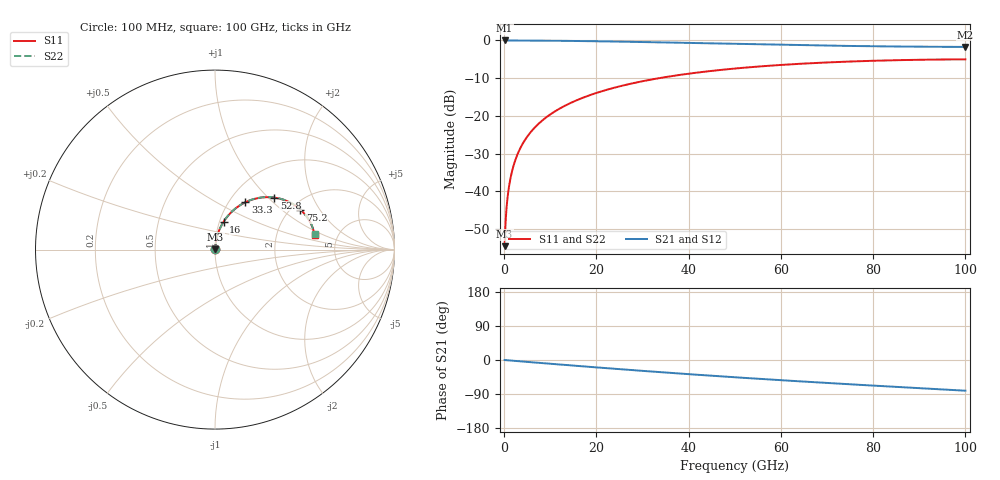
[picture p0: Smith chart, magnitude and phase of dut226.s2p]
! Touchstone file exported from HFSS 2026.1.0
!  File:  C:/ffzhzh/LocalFiles/Ansys_Project_Files/temp_train_RDL_226_1783501096_44152.aedt
!  Generated:  04:59:20 PM Jul  8, 2026
!  Design:  RDL
!  Project:  temp_train_RDL_226_1783501096_44152
! Variables:
!  h_bsmrdl = 2um
!  h_ox = 20um
!  h_rdl = 5um
!  h_sub = 80um
!  h_tmrdl = 2.62um
!  h_tsv = 80um
!  h_via = 3um
!  l_bsmrdl = 300um
!  l_sub = 631.81um
!  l_tmrdl = 231.81um
!  m_sub = 200um
!  pitch = 57.89um
!  r_tsv = 6um
!  s_tmrdl = 10um
!  w_bsmrdl = 18um
!  w_sub = 500um
!  w_tmrdl = 27.51um
!  x_tsv_center1 = 245.565um
!  x_tsv_center2 = 563.565um
!  x_tsv_center3 = 822.885um
!  x_tsv_center4 = 1140.885um
!  x_tsv_center5 = 1400.205um
!  x_tsv_center6 = 1718.205um
# GHz S MA R 50.000000
! Terminal data exported
! Port[1] = TM_RDL1_1_T1
! Port[2] = TM_RDL1_1_T2
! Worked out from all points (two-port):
!   1000 points, 100 MHz to 100 GHz, reference 50 ohm
!   highest |S21| = -0.01 dB at 100 MHz (marker M1); lowest = -1.7 dB at 100 GHz (marker M2)
!   |S21| within 3 dB of the highest: start of sweep to end of sweep
!   lowest |S11| = -54.6 dB at 100 MHz (marker M3), VSWR 1.00, Z = 50.1 + j0.117 ohm
!   |S11| at or under -10 dB: start of sweep to 33.64 GHz
!   |S22| runs from -54.6 to -5.0 dB; largest |S21 - S12| = 6.2e-15
!   S11 on the Smith chart (normalised r, x): 100 MHz: 1.00, +0.00; 16 GHz: 1.05, +0.34; 33.3 GHz: 1.19, +0.70; 52.8 GHz: 1.51, +1.09; 75.2 GHz: 2.24, +1.37; 100 GHz: 3.35, +0.80
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0.1  0.001872 38.6  0.9985 -0.1  0.9985 -0.1  0.001872 38.6
! Gamma 0 0 0 0
! Port Impedance 50 0 50 0
0.4  0.004805 69.3  0.9983 -0.4  0.9983 -0.4  0.004805 69.3
0.8  0.008918 77.3  0.9981 -0.8  0.9981 -0.8  0.008918 77.3
1.1  0.01203 79.8  0.998 -1.1  0.998 -1.1  0.01203 79.8
1.4  0.01516 81.3  0.998 -1.4  0.998 -1.4  0.01516 81.3
1.9  0.02041 82.5  0.9978 -1.9  0.9978 -1.9  0.02041 82.5
2.4  0.02567 83.0  0.9976 -2.4  0.9976 -2.4  0.02567 83.0
3.9  0.04145 83.0  0.9969 -3.9  0.9969 -3.9  0.04145 83.0
5.9  0.06235 81.8  0.9955 -5.9  0.9955 -5.9  0.06235 81.8
8.6  0.0902 79.5  0.9929 -8.6  0.9929 -8.6  0.0902 79.5
11.9  0.1235 76.5  0.9887 -11.8  0.9887 -11.8  0.1235 76.5
16  0.1636 72.7  0.9822 -15.7  0.9822 -15.7  0.1636 72.8
16.8  0.1712 72.0  0.9807 -16.5  0.9807 -16.5  0.1712 72.0
24.2  0.2389 65.3  0.9657 -23.4  0.9657 -23.4  0.2389 65.3
33.3  0.3136 57.3  0.9434 -31.6  0.9434 -31.6  0.3136 57.4
33.4  0.3144 57.2  0.9432 -31.7  0.9432 -31.7  0.3144 57.3
50.1  0.4243 43.4  0.8988 -45.6  0.8988 -45.6  0.4243 43.6
52.8  0.4387 41.3  0.8918 -47.7  0.8918 -47.7  0.4387 41.5
66.7  0.4991 31.0  0.8596 -58.2  0.8596 -58.2  0.4992 31.2
75.2  0.5254 25.0  0.8438 -64.2  0.8438 -64.2  0.5254 25.2
83.4  0.5437 19.4  0.8322 -69.9  0.8322 -69.9  0.5438 19.7
100  0.5612 8.4  0.8202 -81.0  0.8202 -81.0  0.5612 8.7
